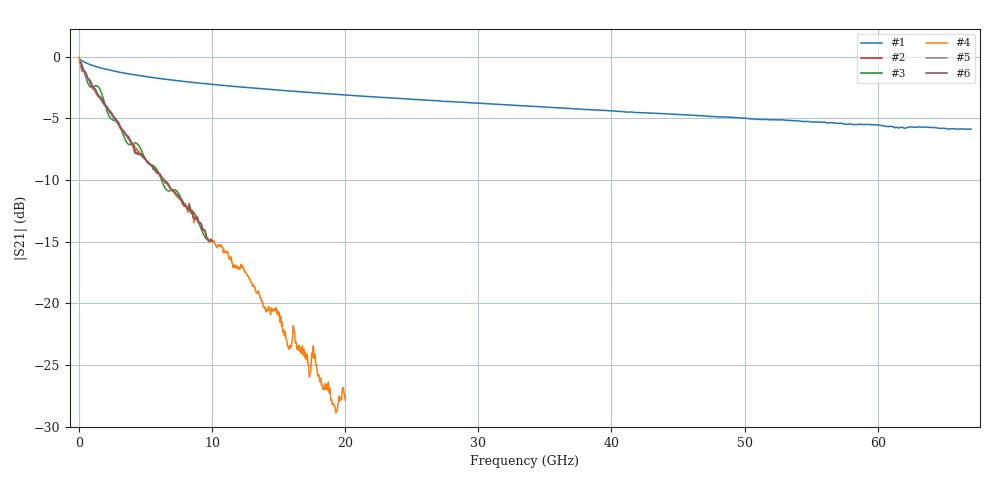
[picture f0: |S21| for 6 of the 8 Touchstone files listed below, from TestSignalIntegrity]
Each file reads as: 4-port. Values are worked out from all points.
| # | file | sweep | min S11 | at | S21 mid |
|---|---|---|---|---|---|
| 1 | RF Cable 0004 edited.s4p | 110.1 MHz to 67 GHz | -76.1 dB | 29.95 GHz | -4.0 dB at 33.56 GHz |
| 2 | Test1.s4p | 1 GHz to 9 GHz | -28.1 dB | 5 GHz | -8.3 dB at 5 GHz |
| 3 | Test2.s4p | 100 MHz to 10 GHz | -42.1 dB | 300 MHz | -8.5 dB at 5.1 GHz |
| 4 | TestDut.s4p | 10 MHz to 20 GHz | -43.7 dB | 1.2 GHz | -15.0 dB at 10.01 GHz |
| 5 | TestSParameterFile_TestSParameterFile_testRLC3.s4p | 100 MHz to 10 GHz | -43.6 dB | 1.2 GHz | -8.5 dB at 5.1 GHz |
| 6 | TestSParameterFile_TestSParameterFile_testRLC4.s4p | 100 MHz to 10 GHz | -35.7 dB | 900 MHz | -8.4 dB at 5.1 GHz |
| 7 | TestSParameterFile_TestSParameterFile_testRLC5.s4p | 100 MHz to 10 GHz | -43.6 dB | 1.2 GHz | -8.5 dB at 5.1 GHz |
| 8 | TestSParameterFile_TestSParameterFile_testRLC6.s4p | 100 MHz to 10 GHz | -35.7 dB | 900 MHz | -8.4 dB at 5.1 GHz |
